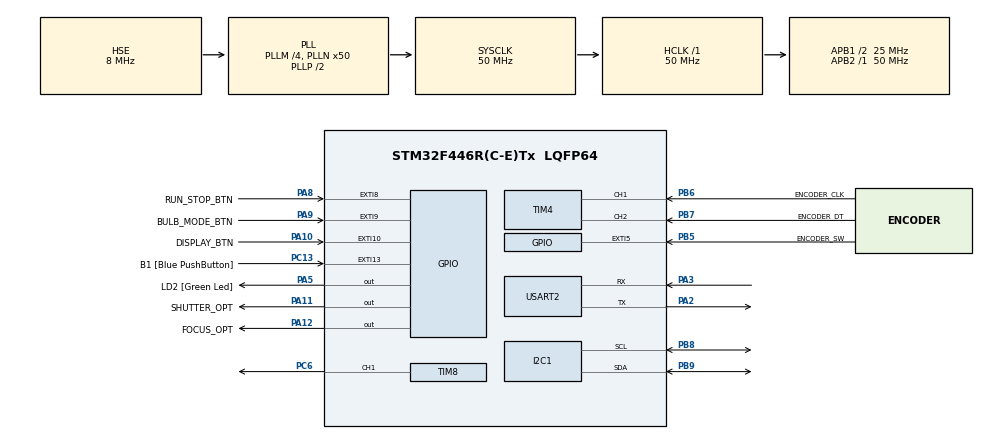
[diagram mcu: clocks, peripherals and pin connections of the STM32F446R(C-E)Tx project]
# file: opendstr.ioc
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Mcu.Family=STM32F4
Mcu.Name=STM32F446R(C-E)Tx
Mcu.Package=LQFP64
NVIC.EXTI15_10_IRQn=true\:0\:0\:false\:false\:true\:true\:true\:true
NVIC.EXTI9_5_IRQn=true\:0\:0\:false\:false\:true\:true\:true\:true
NVIC.PriorityGroup=NVIC_PRIORITYGROUP_0
NVIC.TIM1_UP_TIM10_IRQn=true\:0\:0\:false\:false\:true\:true\:true\:true
PA10.GPIO_Label=DISPLAY_BTN
PA10.Signal=GPXTI10
PA11.GPIO_Label=SHUTTER_OPT
PA11.Signal=GPIO_Output
PA12.GPIO_Label=FOCUS_OPT
PA12.Signal=GPIO_Output
PA13.GPIO_Label=TMS
PA13.Mode=Serial_Wire
PA13.Signal=SYS_JTMS-SWDIO
PA14.GPIO_Label=TCK
PA14.Mode=Serial_Wire
PA14.Signal=SYS_JTCK-SWCLK
PA2.GPIO_ModeDefaultPP=GPIO_MODE_AF_PP
PA2.GPIO_PuPd=GPIO_NOPULL
PA2.GPIO_Speed=GPIO_SPEED_FREQ_VERY_HIGH
PA2.Mode=Asynchronous
PA2.Signal=USART2_TX
PA3.GPIO_ModeDefaultPP=GPIO_MODE_AF_PP
PA3.GPIO_PuPd=GPIO_NOPULL
PA3.GPIO_Speed=GPIO_SPEED_FREQ_VERY_HIGH
PA3.Mode=Asynchronous
PA3.Signal=USART2_RX
PA5.GPIO_Label=LD2 [Green Led]
PA5.Signal=GPIO_Output
PA8.GPIO_Label=RUN_STOP_BTN
PA8.GPIO_ModeDefaultEXTI=GPIO_MODE_IT_RISING_FALLING
PA8.Signal=GPXTI8
PA9.GPIO_Label=BULB_MODE_BTN
PA9.GPIO_ModeDefaultEXTI=GPIO_MODE_IT_RISING_FALLING
PA9.Signal=GPXTI9
PB3.GPIO_Label=SWO
PB3.Signal=SYS_JTDO-SWO
PB5.GPIO_Label=ENCODER_SW
PB5.GPIO_ModeDefaultEXTI=GPIO_MODE_IT_RISING_FALLING
PB5.GPIO_PuPd=GPIO_PULLUP
PB5.Signal=GPXTI5
PB6.GPIO_Label=ENCODER_CLK
PB6.Signal=S_TIM4_CH1
PB7.GPIO_Label=ENCODER_DT
PB7.Signal=S_TIM4_CH2
PB8.Mode=I2C
PB8.Signal=I2C1_SCL
PB9.Mode=I2C
PB9.Signal=I2C1_SDA
PC13.GPIO_Label=B1 [Blue PushButton]
PC13.GPIO_ModeDefaultEXTI=GPIO_MODE_IT_FALLING
PC13.Signal=GPXTI13
PC14-OSC32_IN.Mode=LSE-External-Oscillator
PC14-OSC32_IN.Signal=RCC_OSC32_IN
PC15-OSC32_OUT.Mode=LSE-External-Oscillator
PC15-OSC32_OUT.Signal=RCC_OSC32_OUT
PC6.Signal=S_TIM8_CH1
PH0-OSC_IN.Mode=HSE-External-Oscillator
PH0-OSC_IN.Signal=RCC_OSC_IN
PH1-OSC_OUT.Mode=HSE-External-Oscillator
PH1-OSC_OUT.Signal=RCC_OSC_OUT
ProjectManager.HeapSize=0x200
ProjectManager.StackSize=0x400
ProjectManager.TargetToolchain=CMake
RCC.48MHZClocksFreq_Value=84000000
RCC.AHBFreq_Value=50000000
RCC.APB1CLKDivider=RCC_HCLK_DIV2
RCC.APB1Freq_Value=25000000
RCC.APB1TimFreq_Value=50000000
RCC.APB2Freq_Value=50000000
RCC.APB2TimFreq_Value=50000000
RCC.CortexFreq_Value=50000000
RCC.FLatency-AdvancedSettings=FLASH_LATENCY_1
RCC.HCLKFreq_Value=50000000
RCC.HSE_VALUE=8000000
RCC.HSI_VALUE=16000000
RCC.PLLM=4
RCC.PLLN=50
RCC.PLLSourceVirtual=RCC_PLLSOURCE_HSE
RCC.RCC_MCO1Source=RCC_MCO1SOURCE_HSE
RCC.RCC_MCO2Source=RCC_MCO2SOURCE_HSE
RCC.RCC_MCODiv2=RCC_MCODIV_2
RCC.SYSCLKFreq_VALUE=50000000
RCC.SYSCLKSource=RCC_SYSCLKSOURCE_PLLCLK
RCC.USBFreq_Value=50000000
RCC.VCOOutputFreq_Value=100000000
SH.S_TIM4_CH1.0=TIM4_CH1,Encoder_Interface
SH.S_TIM4_CH2.0=TIM4_CH2,Encoder_Interface
SH.S_TIM8_CH1.0=TIM8_CH1,PWM Generation1 CH1
TIM1.Period=999
TIM1.Prescaler=49
TIM4.IC1Filter=15
TIM4.IC1Polarity=TIM_ICPOLARITY_FALLING
TIM4.IC2Filter=15
TIM4.IC2Polarity=TIM_ICPOLARITY_FALLING
TIM8.Channel-PWM\ Generation1\ CH1=TIM_CHANNEL_1
TIM8.Period=499
TIM8.Prescaler=83
USART2.VirtualMode=VM_ASYNC
VP_TIM1_VS_ClockSourceINT.Mode=Internal
VP_TIM8_VS_ClockSourceINT.Mode=Internal
board=NUCLEO-F446RE

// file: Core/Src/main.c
/* USER CODE BEGIN Header */
/**
  ******************************************************************************
  * @file           : main.c
  * @brief          : Main program body
  ******************************************************************************
  * @attention
  *
  * Copyright (c) 2026 STMicroelectronics.
  * All rights reserved.
  *
  * This software is licensed under terms that can be found in the LICENSE file
  * in the root directory of this software component.
  * If no LICENSE file comes with this software, it is provided AS-IS.
  *
  ******************************************************************************
  */
/* USER CODE END Header */
#include "main.h"

/* USER CODE BEGIN Includes */
#include "../../App/Inc/ui_state_machine.h"
/* USER CODE END Includes */

/* USER CODE BEGIN PTD */
extern UART_HandleTypeDef huart2;
/* USER CODE END PTD */

I2C_HandleTypeDef hi2c1;

TIM_HandleTypeDef htim1;
TIM_HandleTypeDef htim4;
TIM_HandleTypeDef htim8;

UART_HandleTypeDef huart2;

/* USER CODE BEGIN PV */
// predefined beeps
const BeepEvent_T Boot_Beep_1 = {.arr = 624, .psc = 249, .duty = 50, .duration = 200};
const BeepEvent_T Boot_Beep_2 = {.arr = 646, .psc = 160, .duty = 50, .duration = 1000};
/* USER CODE END PV */

void SystemClock_Config(void);
static void MX_GPIO_Init(void);
static void MX_USART2_UART_Init(void);
static void MX_TIM1_Init(void);
static void MX_I2C1_Init(void);
static void MX_TIM4_Init(void);
static void MX_TIM8_Init(void);

int main(void)
{

  /* MCU Configuration--------------------------------------------------------*/

  /* Reset of all peripherals, Initializes the Flash interface and the Systick. */
  HAL_Init();

  /* Configure the system clock */
  SystemClock_Config();

  /* Initialize all configured peripherals */
  MX_GPIO_Init();
  MX_USART2_UART_Init();
  MX_TIM1_Init();
  MX_I2C1_Init();
  MX_TIM4_Init();
  MX_TIM8_Init();
  /* USER CODE BEGIN 2 */

  // init some stuff like timers and other peripherals
  HAL_TIM_Base_Start_IT(&htim1);
  __HAL_TIM_ENABLE_IT(&htim4, TIM_IT_CC1);
  __HAL_TIM_ENABLE_IT(&htim4, TIM_IT_CC2);
  HAL_TIM_Encoder_Start(&htim4, TIM_CHANNEL_ALL);
  HAL_TIM_PWM_Start(&htim8, TIM_CHANNEL_1);
  // display_splash_screen();

  display_splash_screen();
  display_single_shot_notice();
  buzzer_plain_start_beep(Boot_Beep_1, TIM8);
  HAL_Delay(1000);
  buzzer_plain_stop_beep(TIM8);
  HAL_Delay(2500);
  render_ui();

  /* USER CODE END 2 */

  /* Infinite loop */
  /* USER CODE BEGIN WHILE */

  // ReSharper disable once CppDFAEndlessLoop <-- another comment to disable CLion checks from being annoying, thanks JetBrains lol
  while (1)
  {

    sys_state_machine_update_state();
    sys_state_machine_take_action();
    ui_state_machine_update();

    /* USER CODE END WHILE */

  }
}

void SystemClock_Config(void)
{
  RCC_OscInitTypeDef RCC_OscInitStruct = {0};
  RCC_ClkInitTypeDef RCC_ClkInitStruct = {0};

  /** Configure the main internal regulator output voltage
  */
  __HAL_RCC_PWR_CLK_ENABLE();
  __HAL_PWR_VOLTAGESCALING_CONFIG(PWR_REGULATOR_VOLTAGE_SCALE3);

  /** Initializes the RCC Oscillators according to the specified parameters
  * in the RCC_OscInitTypeDef structure.
  */
  RCC_OscInitStruct.OscillatorType = RCC_OSCILLATORTYPE_HSE;
  RCC_OscInitStruct.HSEState = RCC_HSE_ON;
  RCC_OscInitStruct.PLL.PLLState = RCC_PLL_ON;
  RCC_OscInitStruct.PLL.PLLSource = RCC_PLLSOURCE_HSE;
  RCC_OscInitStruct.PLL.PLLM = 4;
  RCC_OscInitStruct.PLL.PLLN = 50;
  RCC_OscInitStruct.PLL.PLLP = RCC_PLLP_DIV2;
  RCC_OscInitStruct.PLL.PLLQ = 2;
  RCC_OscInitStruct.PLL.PLLR = 2;
  if (HAL_RCC_OscConfig(&RCC_OscInitStruct) != HAL_OK)
  {
    Error_Handler();
  }

  /** Initializes the CPU, AHB and APB buses clocks
  */
  RCC_ClkInitStruct.ClockType = RCC_CLOCKTYPE_HCLK|RCC_CLOCKTYPE_SYSCLK
                              |RCC_CLOCKTYPE_PCLK1|RCC_CLOCKTYPE_PCLK2;
  RCC_ClkInitStruct.SYSCLKSource = RCC_SYSCLKSOURCE_PLLCLK;
  RCC_ClkInitStruct.AHBCLKDivider = RCC_SYSCLK_DIV1;
  RCC_ClkInitStruct.APB1CLKDivider = RCC_HCLK_DIV2;
  RCC_ClkInitStruct.APB2CLKDivider = RCC_HCLK_DIV1;

  if (HAL_RCC_ClockConfig(&RCC_ClkInitStruct, FLASH_LATENCY_1) != HAL_OK)
  {
    Error_Handler();
  }
}

static void MX_I2C1_Init(void)
{

  hi2c1.Instance = I2C1;
  hi2c1.Init.ClockSpeed = 100000;
  hi2c1.Init.DutyCycle = I2C_DUTYCYCLE_2;
  hi2c1.Init.OwnAddress1 = 0;
  hi2c1.Init.AddressingMode = I2C_ADDRESSINGMODE_7BIT;
  hi2c1.Init.DualAddressMode = I2C_DUALADDRESS_DISABLE;
  hi2c1.Init.OwnAddress2 = 0;
  hi2c1.Init.GeneralCallMode = I2C_GENERALCALL_DISABLE;
  hi2c1.Init.NoStretchMode = I2C_NOSTRETCH_DISABLE;
  if (HAL_I2C_Init(&hi2c1) != HAL_OK)
  {
    Error_Handler();
  }

}

static void MX_TIM1_Init(void)
{

  TIM_ClockConfigTypeDef sClockSourceConfig = {0};
  TIM_MasterConfigTypeDef sMasterConfig = {0};

  htim1.Instance = TIM1;
  htim1.Init.Prescaler = 49;
  htim1.Init.CounterMode = TIM_COUNTERMODE_UP;
  htim1.Init.Period = 999;
  htim1.Init.ClockDivision = TIM_CLOCKDIVISION_DIV1;
  htim1.Init.RepetitionCounter = 0;
  htim1.Init.AutoReloadPreload = TIM_AUTORELOAD_PRELOAD_DISABLE;
  if (HAL_TIM_Base_Init(&htim1) != HAL_OK)
  {
    Error_Handler();
  }
  sClockSourceConfig.ClockSource = TIM_CLOCKSOURCE_INTERNAL;
  if (HAL_TIM_ConfigClockSource(&htim1, &sClockSourceConfig) != HAL_OK)
  {
    Error_Handler();
  }
  sMasterConfig.MasterOutputTrigger = TIM_TRGO_RESET;
  sMasterConfig.MasterSlaveMode = TIM_MASTERSLAVEMODE_DISABLE;
  if (HAL_TIMEx_MasterConfigSynchronization(&htim1, &sMasterConfig) != HAL_OK)
  {
    Error_Handler();
  }

}

static void MX_TIM4_Init(void)
{

  TIM_Encoder_InitTypeDef sConfig = {0};
  TIM_MasterConfigTypeDef sMasterConfig = {0};

  htim4.Instance = TIM4;
  htim4.Init.Prescaler = 0;
  htim4.Init.CounterMode = TIM_COUNTERMODE_UP;
  htim4.Init.Period = 65535;
  htim4.Init.ClockDivision = TIM_CLOCKDIVISION_DIV1;
  htim4.Init.AutoReloadPreload = TIM_AUTORELOAD_PRELOAD_DISABLE;
  sConfig.EncoderMode = TIM_ENCODERMODE_TI1;
  sConfig.IC1Polarity = TIM_ICPOLARITY_FALLING;
  sConfig.IC1Selection = TIM_ICSELECTION_DIRECTTI;
  sConfig.IC1Prescaler = TIM_ICPSC_DIV1;
  sConfig.IC1Filter = 15;
  sConfig.IC2Polarity = TIM_ICPOLARITY_FALLING;
  sConfig.IC2Selection = TIM_ICSELECTION_DIRECTTI;
  sConfig.IC2Prescaler = TIM_ICPSC_DIV1;
  sConfig.IC2Filter = 15;
  if (HAL_TIM_Encoder_Init(&htim4, &sConfig) != HAL_OK)
  {
    Error_Handler();
  }
  sMasterConfig.MasterOutputTrigger = TIM_TRGO_RESET;
  sMasterConfig.MasterSlaveMode = TIM_MASTERSLAVEMODE_DISABLE;
  if (HAL_TIMEx_MasterConfigSynchronization(&htim4, &sMasterConfig) != HAL_OK)
  {
    Error_Handler();
  }

}

static void MX_TIM8_Init(void)
{

  TIM_ClockConfigTypeDef sClockSourceConfig = {0};
  TIM_MasterConfigTypeDef sMasterConfig = {0};
  TIM_OC_InitTypeDef sConfigOC = {0};
  TIM_BreakDeadTimeConfigTypeDef sBreakDeadTimeConfig = {0};

  htim8.Instance = TIM8;
  htim8.Init.Prescaler = 83;
  htim8.Init.CounterMode = TIM_COUNTERMODE_UP;
  htim8.Init.Period = 499;
  htim8.Init.ClockDivision = TIM_CLOCKDIVISION_DIV1;
  htim8.Init.RepetitionCounter = 0;
  htim8.Init.AutoReloadPreload = TIM_AUTORELOAD_PRELOAD_DISABLE;
  if (HAL_TIM_Base_Init(&htim8) != HAL_OK)
  {
    Error_Handler();
  }
  sClockSourceConfig.ClockSource = TIM_CLOCKSOURCE_INTERNAL;
  if (HAL_TIM_ConfigClockSource(&htim8, &sClockSourceConfig) != HAL_OK)
  {
    Error_Handler();
  }
  if (HAL_TIM_PWM_Init(&htim8) != HAL_OK)
  {
    Error_Handler();
  }
  sMasterConfig.MasterOutputTrigger = TIM_TRGO_RESET;
  sMasterConfig.MasterSlaveMode = TIM_MASTERSLAVEMODE_DISABLE;
  if (HAL_TIMEx_MasterConfigSynchronization(&htim8, &sMasterConfig) != HAL_OK)
  {
    Error_Handler();
  }
  sConfigOC.OCMode = TIM_OCMODE_PWM1;
  sConfigOC.Pulse = 0;
  sConfigOC.OCPolarity = TIM_OCPOLARITY_HIGH;
  sConfigOC.OCNPolarity = TIM_OCNPOLARITY_HIGH;
  sConfigOC.OCFastMode = TIM_OCFAST_DISABLE;
  sConfigOC.OCIdleState = TIM_OCIDLESTATE_RESET;
  sConfigOC.OCNIdleState = TIM_OCNIDLESTATE_RESET;
  if (HAL_TIM_PWM_ConfigChannel(&htim8, &sConfigOC, TIM_CHANNEL_1) != HAL_OK)
  {
    Error_Handler();
  }
  sBreakDeadTimeConfig.OffStateRunMode = TIM_OSSR_DISABLE;
  sBreakDeadTimeConfig.OffStateIDLEMode = TIM_OSSI_DISABLE;
  sBreakDeadTimeConfig.LockLevel = TIM_LOCKLEVEL_OFF;
  sBreakDeadTimeConfig.DeadTime = 0;
  sBreakDeadTimeConfig.BreakState = TIM_BREAK_DISABLE;
  sBreakDeadTimeConfig.BreakPolarity = TIM_BREAKPOLARITY_HIGH;
  sBreakDeadTimeConfig.AutomaticOutput = TIM_AUTOMATICOUTPUT_DISABLE;
  if (HAL_TIMEx_ConfigBreakDeadTime(&htim8, &sBreakDeadTimeConfig) != HAL_OK)
  {
    Error_Handler();
  }
  HAL_TIM_MspPostInit(&htim8);

}

static void MX_USART2_UART_Init(void)
{

  huart2.Instance = USART2;
  huart2.Init.BaudRate = 115200;
  huart2.Init.WordLength = UART_WORDLENGTH_8B;
  huart2.Init.StopBits = UART_STOPBITS_1;
  huart2.Init.Parity = UART_PARITY_NONE;
  huart2.Init.Mode = UART_MODE_TX_RX;
  huart2.Init.HwFlowCtl = UART_HWCONTROL_NONE;
  huart2.Init.OverSampling = UART_OVERSAMPLING_16;
  if (HAL_UART_Init(&huart2) != HAL_OK)
  {
    Error_Handler();
  }

}

static void MX_GPIO_Init(void)
{
  GPIO_InitTypeDef GPIO_InitStruct = {0};

  /* GPIO Ports Clock Enable */
  __HAL_RCC_GPIOC_CLK_ENABLE();
  __HAL_RCC_GPIOH_CLK_ENABLE();
  __HAL_RCC_GPIOA_CLK_ENABLE();
  __HAL_RCC_GPIOB_CLK_ENABLE();

  /*Configure GPIO pin Output Level */
  HAL_GPIO_WritePin(GPIOA, LD2_Pin|SHUTTER_OPT_Pin|FOCUS_OPT_Pin, GPIO_PIN_RESET);

  /*Configure GPIO pin : B1_Pin */
  GPIO_InitStruct.Pin = B1_Pin;
  GPIO_InitStruct.Mode = GPIO_MODE_IT_FALLING;
  GPIO_InitStruct.Pull = GPIO_NOPULL;
  HAL_GPIO_Init(B1_GPIO_Port, &GPIO_InitStruct);

  /*Configure GPIO pins : LD2_Pin SHUTTER_OPT_Pin FOCUS_OPT_Pin */
  GPIO_InitStruct.Pin = LD2_Pin|SHUTTER_OPT_Pin|FOCUS_OPT_Pin;
  GPIO_InitStruct.Mode = GPIO_MODE_OUTPUT_PP;
  GPIO_InitStruct.Pull = GPIO_NOPULL;
  GPIO_InitStruct.Speed = GPIO_SPEED_FREQ_LOW;
  HAL_GPIO_Init(GPIOA, &GPIO_InitStruct);

  /*Configure GPIO pins : RUN_STOP_BTN_Pin BULB_MODE_BTN_Pin */
  GPIO_InitStruct.Pin = RUN_STOP_BTN_Pin|BULB_MODE_BTN_Pin;
  GPIO_InitStruct.Mode = GPIO_MODE_IT_RISING_FALLING;
  GPIO_InitStruct.Pull = GPIO_NOPULL;
  HAL_GPIO_Init(GPIOA, &GPIO_InitStruct);

  /*Configure GPIO pin : DISPLAY_BTN_Pin */
  GPIO_InitStruct.Pin = DISPLAY_BTN_Pin;
  GPIO_InitStruct.Mode = GPIO_MODE_IT_RISING;
  GPIO_InitStruct.Pull = GPIO_NOPULL;
  HAL_GPIO_Init(DISPLAY_BTN_GPIO_Port, &GPIO_InitStruct);

  /*Configure GPIO pin : ENCODER_SW_Pin */
  GPIO_InitStruct.Pin = ENCODER_SW_Pin;
  GPIO_InitStruct.Mode = GPIO_MODE_IT_RISING_FALLING;
  GPIO_InitStruct.Pull = GPIO_PULLUP;
  HAL_GPIO_Init(ENCODER_SW_GPIO_Port, &GPIO_InitStruct);

  /* EXTI interrupt init*/
  HAL_NVIC_SetPriority(EXTI9_5_IRQn, 0, 0);
  HAL_NVIC_EnableIRQ(EXTI9_5_IRQn);

  HAL_NVIC_SetPriority(EXTI15_10_IRQn, 0, 0);
  HAL_NVIC_EnableIRQ(EXTI15_10_IRQn);

}

void Error_Handler(void)
{
  __disable_irq();
  while (1)
  {
  }
}
